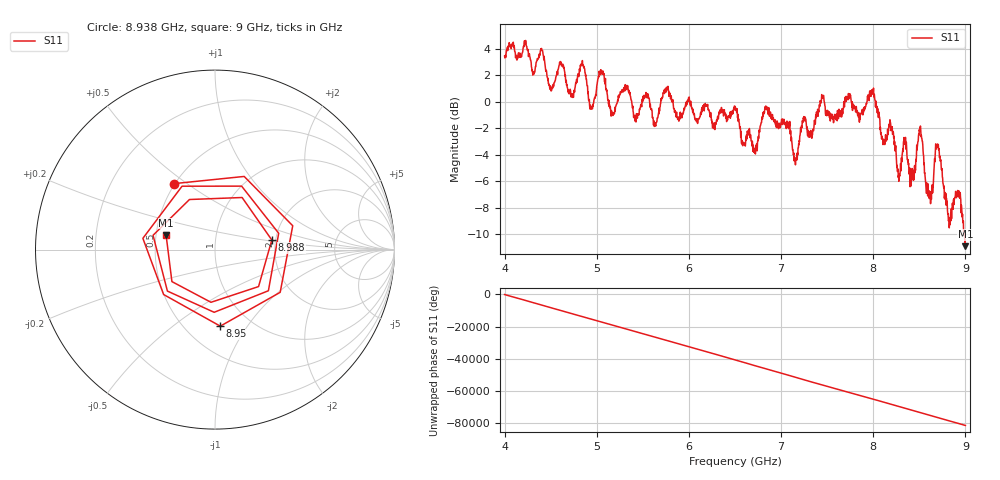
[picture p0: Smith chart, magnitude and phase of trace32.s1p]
! Created with skrf 1.8.0 (http://scikit-rf.org).
# Hz S RI R 50.0
!freq ReS11 ImS11
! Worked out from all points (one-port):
!   1601 points, 4 GHz to 9 GHz, reference 50 ohm
!   lowest |S11| = -10.9 dB at 9 GHz (marker M1), VSWR 1.80, Z = 28.3 + j5.02 ohm
!   |S11| at or under -10 dB: 8.980768 GHz to 8.981657 GHz (888.1 kHz wide, 0.00989 % of centre); 8.991256 GHz to end of sweep
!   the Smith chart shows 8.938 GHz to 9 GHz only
!   S11 on the Smith chart (normalised r, x): 8.938 GHz: 0.50, +0.45; 8.95 GHz: 0.73, -0.76; 8.988 GHz: 1.91, +0.23; 9 GHz: 0.57, +0.10
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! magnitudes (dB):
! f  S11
! 4 GHz  3.4
! 4.403 GHz  4.0
! 4.506 GHz  0.8
! 4.625 GHz  2.7
! 4.725 GHz  0.4
! 4.847 GHz  2.8
! 4.941 GHz  -0.6
! 5.05 GHz  2.3
! 5.169 GHz  -0.9
! 5.25 GHz  0.5
! 5.875 GHz  -1.2
! 6.5 GHz  -0.5
! 6.594 GHz  -3.2
! 6.844 GHz  -0.6
! 7.125 GHz  -3.7
! 7.75 GHz  0.4
! 7.988 GHz  0.6
! 8.275 GHz  -5.6
! 8.375 GHz  -4.6
! 8.425 GHz  -5.4
! 8.512 GHz  -1.8
! 8.6 GHz  -6.8
! 8.697 GHz  -3.2
! 8.825 GHz  -9.5
! 8.938 GHz  -7.3
! 8.95 GHz  -7.4
! 8.988 GHz  -9.9
! 9 GHz  -10.9
